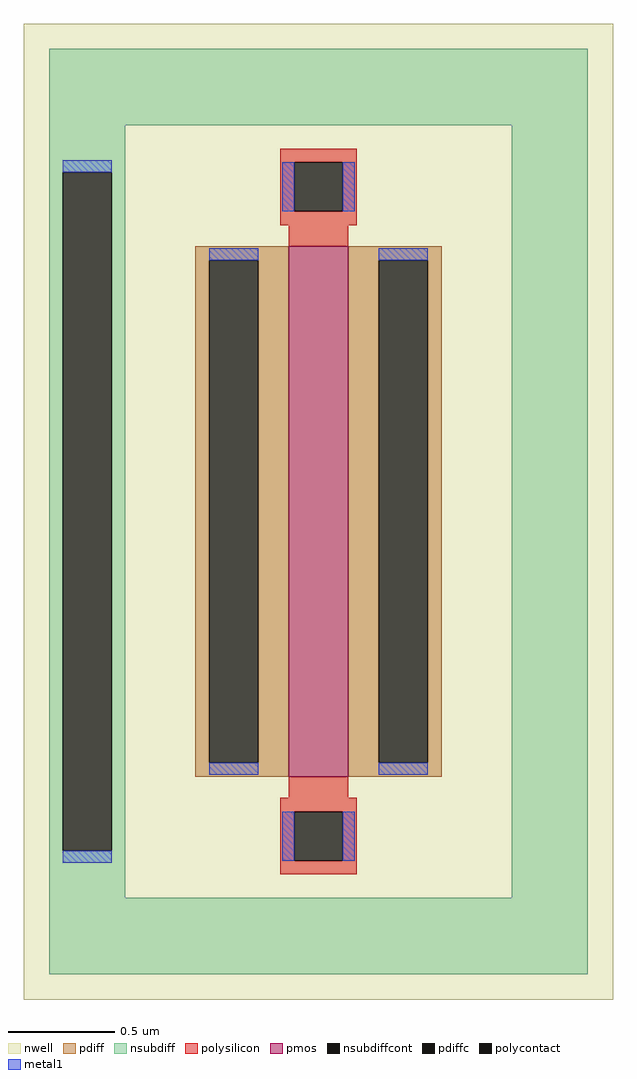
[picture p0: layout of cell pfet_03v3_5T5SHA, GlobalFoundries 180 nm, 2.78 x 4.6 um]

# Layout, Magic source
magic
tech gf180mcuD
magscale 1 10
<< nwell >>
rect -278 -460 278 460
<< pmos >>
rect -28 -250 28 250
<< pdiff >>
rect -116 237 -28 250
rect -116 -237 -103 237
rect -57 -237 -28 237
rect -116 -250 -28 -237
rect 28 237 116 250
rect 28 -237 57 237
rect 103 -237 116 237
rect 28 -250 116 -237
<< pdiffc >>
rect -103 -237 -57 237
rect 57 -237 103 237
<< nsubdiff >>
rect -254 364 254 436
rect -254 320 -182 364
rect -254 -320 -241 320
rect -195 -320 -182 320
rect -254 -364 -182 -320
rect 182 -364 254 364
rect -254 -436 254 -364
<< nsubdiffcont >>
rect -241 -320 -195 320
<< polysilicon >>
rect -36 329 36 342
rect -36 283 -23 329
rect 23 283 36 329
rect -36 270 36 283
rect -28 250 28 270
rect -28 -270 28 -250
rect -36 -283 36 -270
rect -36 -329 -23 -283
rect 23 -329 36 -283
rect -36 -342 36 -329
<< polycontact >>
rect -23 283 23 329
rect -23 -329 23 -283
<< metal1 >>
rect -241 320 -195 331
rect -34 283 -23 329
rect 23 283 34 329
rect -103 237 -57 248
rect -103 -248 -57 -237
rect 57 237 103 248
rect 57 -248 103 -237
rect -241 -331 -195 -320
rect -34 -329 -23 -283
rect 23 -329 34 -283
<< properties >>
string FIXED_BBOX -218 -400 218 400
string gencell pfet_03v3
string library gf180mcu
string parameters w 2.5 l 0.28 m 1 nf 1 diffcov 100 polycov 100 guard 1 glc 1 grc 0 gtc 0 gbc 0 tbcov 100 rlcov 100 topc 1 botc 1 poverlap 0 doverlap 1 lmin 0.28 wmin 0.22 class mosfet full_metal 0 compatible {pfet_03v3 pfet_05v0 pfet_06v0}
<< end >>
